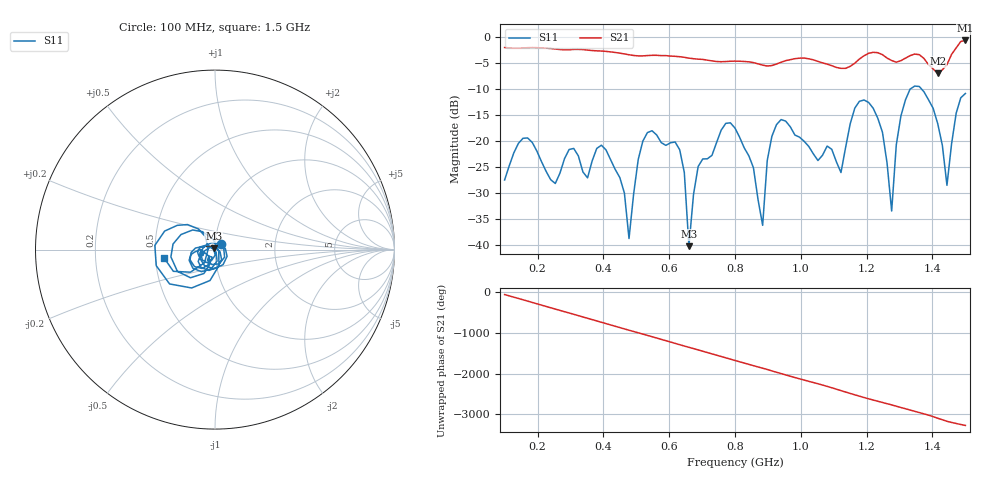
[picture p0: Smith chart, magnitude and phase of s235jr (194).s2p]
! NanoVNA-App
! Date: 2025-09-25 15:05:40
! Start: 100MHz Stop: 1,5GHz Points: 101
! S-Parameter data: F S11 S21 S12 S22
# Hz S RI R 50
!  Frequency  S11_Real  S11_Imag  S21_Real  S21_Imag  S12_Real  S12_Imag  S22_Real  S22_Imag
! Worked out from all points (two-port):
!   101 points, 100 MHz to 1.5 GHz, reference 50 ohm
!   highest |S21| = -0.61 dB at 1.5 GHz (marker M1); lowest = -7.0 dB at 1.416 GHz (marker M2)
!   |S21| within 3 dB of the highest: start of sweep to 603.3 MHz; 1.191 GHz to 1.254 GHz (62.81 MHz wide, 5.14 % of centre) (the widest 2 of 4)
!   lowest |S11| = -40.2 dB at 660 MHz (marker M3), VSWR 1.02, Z = 49.3 + j0.626 ohm
!   |S11| at or under -10 dB: start of sweep to 1.332 GHz; 1.367 GHz to end of sweep
!   S12 and S22 are empty: the file has one direction only
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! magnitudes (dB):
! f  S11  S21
! 100 MHz  -27.5  -2.0
! 156 MHz  -19.4  -2.1
! 338 MHz  -25.9  -2.4
! 408 MHz  -21.7  -2.7
! 478 MHz  -38.7  -3.4
! 520 MHz  -20.0  -3.6
! 576 MHz  -20.3  -3.5
! 632 MHz  -21.7  -3.7
! 660 MHz  -40.2  -4.0
! 688 MHz  -24.9  -4.2
! 800 MHz  -17.5  -4.6
! 884 MHz  -36.2  -5.4
! 926 MHz  -16.8  -5.1
! 1.038 GHz  -22.4  -4.3
! 1.122 GHz  -26.0  -6.0
! 1.206 GHz  -12.5  -3.1
! 1.276 GHz  -33.5  -4.5
! 1.29 GHz  -20.7  -4.8
! 1.332 GHz  -10.0  -3.5
! 1.416 GHz  -16.6  -7.0
! 1.444 GHz  -28.5  -5.3
! 1.5 GHz  -10.8  -0.6
